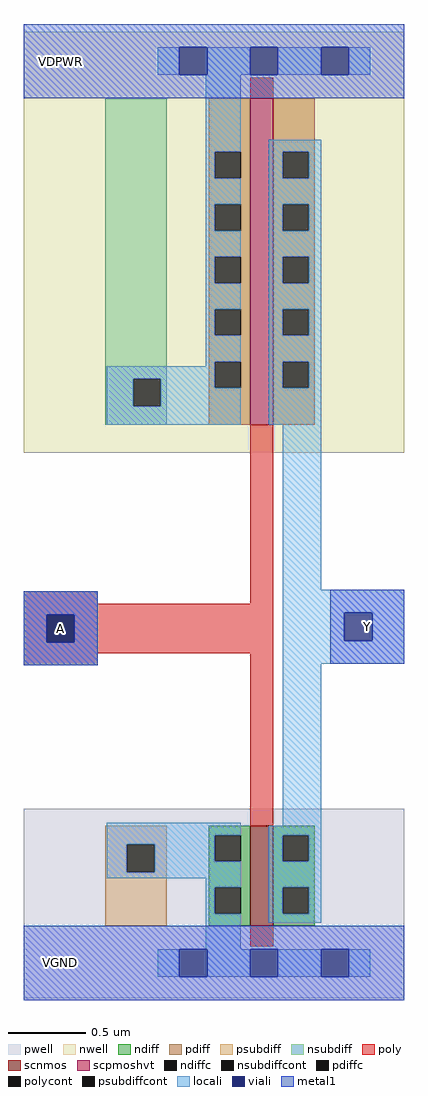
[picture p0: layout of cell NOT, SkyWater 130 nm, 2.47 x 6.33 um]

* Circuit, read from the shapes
.subckt NOT VGND VDPWR A Y
XM1 Y A VGND VGND sky130_fd_pr__nfet_01v8 w=0.65 l=0.15
XM2 Y A VDPWR VDPWR sky130_fd_pr__pfet_01v8_hvt w=2.12 l=0.15
.ends

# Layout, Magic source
magic
tech sky130A
<< nwell >>
rect -87 331 160 604
<< pwell >>
rect -87 -23 160 100
<< scnmos >>
rect 60 24 75 89
<< scpmoshvt >>
rect 60 349 75 561
<< ndiff >>
rect 33 83 60 89
rect 33 66 37 83
rect 54 66 60 83
rect 33 49 60 66
rect 33 32 37 49
rect 54 32 60 49
rect 33 24 60 32
rect 75 83 102 89
rect 75 66 81 83
rect 98 66 102 83
rect 75 49 102 66
rect 75 32 81 49
rect 98 32 102 49
rect 75 24 102 32
<< pdiff >>
rect 33 526 60 561
rect 33 509 37 526
rect 54 509 60 526
rect 33 492 60 509
rect 33 475 37 492
rect 54 475 60 492
rect 33 458 60 475
rect 33 441 37 458
rect 54 441 60 458
rect 33 424 60 441
rect 33 407 37 424
rect 54 407 60 424
rect 33 390 60 407
rect 33 373 37 390
rect 54 373 60 390
rect 33 349 60 373
rect 75 526 102 561
rect 75 509 81 526
rect 98 509 102 526
rect 75 492 102 509
rect 75 475 81 492
rect 98 475 102 492
rect 75 458 102 475
rect 75 441 81 458
rect 98 441 102 458
rect 75 424 102 441
rect 75 407 81 424
rect 98 407 102 424
rect 75 390 102 407
rect 75 373 81 390
rect 98 373 102 390
rect 75 349 102 373
<< ndiffc >>
rect 37 66 54 83
rect 37 32 54 49
rect 81 66 98 83
rect 81 32 98 49
<< pdiffc >>
rect 37 509 54 526
rect 37 475 54 492
rect 37 441 54 458
rect 37 407 54 424
rect 37 373 54 390
rect 81 509 98 526
rect 81 475 98 492
rect 81 441 98 458
rect 81 407 98 424
rect 81 373 98 390
<< psubdiff >>
rect -34 77 6 89
rect -34 59 -20 77
rect -2 59 6 77
rect -34 24 6 59
<< nsubdiff >>
rect -34 379 6 561
rect -34 361 -16 379
rect 2 361 6 379
rect -34 349 6 361
<< psubdiffcont >>
rect -20 59 -2 77
<< nsubdiffcont >>
rect -16 361 2 379
<< poly >>
rect 60 561 75 574
rect -87 233 -39 241
rect 60 233 75 349
rect -87 226 75 233
rect -87 208 -72 226
rect -54 208 75 226
rect -87 201 75 208
rect -87 193 -39 201
rect 60 89 75 201
rect 60 11 75 24
<< polycont >>
rect -72 208 -54 226
<< locali >>
rect 0 576 14 594
rect 32 576 60 594
rect 78 576 106 594
rect 124 576 138 594
rect 31 526 54 576
rect 31 509 37 526
rect 31 492 54 509
rect 31 475 37 492
rect 31 458 54 475
rect 31 441 37 458
rect 31 424 54 441
rect 31 407 37 424
rect 31 390 54 407
rect 31 387 37 390
rect -33 379 37 387
rect -33 361 -16 379
rect 2 373 37 379
rect 2 361 54 373
rect -33 349 54 361
rect 72 526 106 534
rect 72 509 81 526
rect 98 509 106 526
rect 72 492 106 509
rect 72 475 81 492
rect 98 475 106 492
rect 72 458 106 475
rect 72 441 81 458
rect 98 441 106 458
rect 72 424 106 441
rect 72 407 81 424
rect 98 407 106 424
rect 72 390 106 407
rect 72 373 81 390
rect 98 373 106 390
rect 72 349 106 373
rect 81 242 106 349
rect -87 226 -39 241
rect -87 208 -72 226
rect -54 208 -39 226
rect -87 193 -39 208
rect 81 227 160 242
rect 81 209 121 227
rect 139 209 160 227
rect 81 194 160 209
rect -33 83 54 91
rect 81 89 106 194
rect -33 77 37 83
rect -33 59 -20 77
rect -2 66 37 77
rect -2 59 54 66
rect -33 55 54 59
rect 31 49 54 55
rect 31 32 37 49
rect 31 9 54 32
rect 72 83 106 89
rect 72 66 81 83
rect 98 66 106 83
rect 72 49 106 66
rect 72 32 81 49
rect 98 32 106 49
rect 72 26 106 32
rect 0 -9 14 9
rect 32 -9 60 9
rect 78 -9 106 9
rect 124 -9 138 9
<< viali >>
rect 14 576 32 594
rect 60 576 78 594
rect 106 576 124 594
rect -72 208 -54 226
rect 121 209 139 227
rect 14 -9 32 9
rect 60 -9 78 9
rect 106 -9 124 9
<< metal1 >>
rect -87 594 160 609
rect -87 576 14 594
rect 32 576 60 594
rect 78 576 106 594
rect 124 576 160 594
rect -87 561 160 576
rect -87 226 -39 241
rect -87 208 -72 226
rect -54 208 -39 226
rect -87 193 -39 208
rect 112 227 160 242
rect 112 209 121 227
rect 139 209 160 227
rect 112 194 160 209
rect -87 9 160 24
rect -87 -9 14 9
rect 32 -9 60 9
rect 78 -9 106 9
rect 124 -9 160 9
rect -87 -24 160 -9
<< labels >>
flabel metal1 -87 -24 -39 24 1 FreeSans 200 0 0 0 VGND
port 22 nsew ground bidirectional
flabel metal1 -87 193 -39 241 1 FreeSans 200 0 0 0 A
port 24 nsew signal input
flabel metal1 112 194 160 242 1 FreeSans 200 0 0 0 Y
port 25 nsew signal output
flabel metal1 -87 561 -39 609 1 FreeSans 200 0 0 0 VDPWR
port 23 nsew power bidirectional
<< properties >>
string FIXED_BBOX -107 -44 180 316
string GDS_FILEBOUNDARY true
string LEFclass CORE
string LEForigin 0 0
string LEFsite unithd
<< end >>
